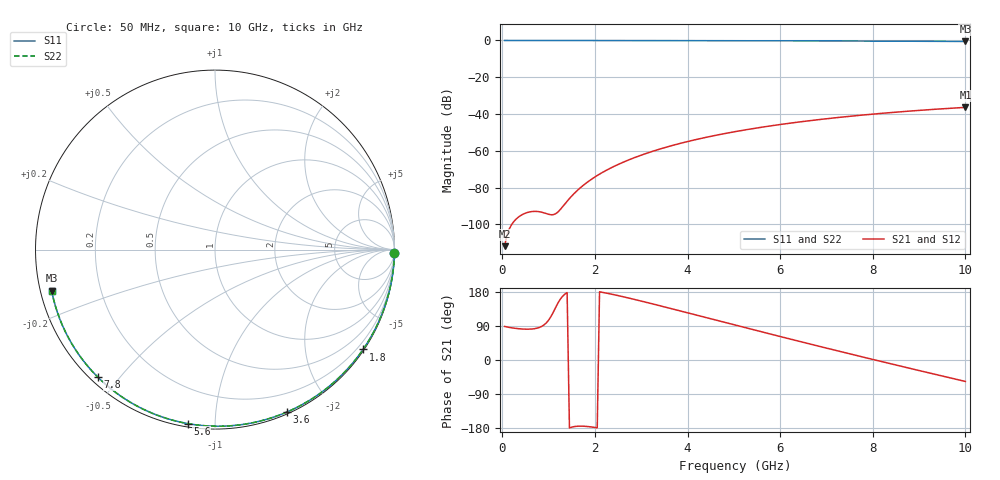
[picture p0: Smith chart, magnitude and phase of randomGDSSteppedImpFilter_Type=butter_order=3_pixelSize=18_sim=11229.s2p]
! freq	dB(S11)	phase(S11)	dB(S12)	phase(S12)
!  dB(S21)	phase(S21)	dB(S22)	phase(S22)
!S-par simulation data
#  GHz  S  DB  R 50
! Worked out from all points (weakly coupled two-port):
!   200 points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, 50 MHz to 10 GHz, reference 50 ohm
!   highest |S21| = -36.37 dB at 10 GHz (marker M1); lowest = -111.8 dB at 50 MHz (marker M2)
!   lowest |S11| = -0.6 dB at 10 GHz (marker M3), VSWR 31.45, Z = 1.61 - j6.17 ohm
!   |S11| at or under -10 dB: nowhere
!   |S22| runs from -0.6 to 0.0 dB; largest |S21 - S12| = 0
!   S11 on the Smith chart (normalised r, x): 50 MHz: open; 1.8 GHz: 0.03, -3.27; 3.6 GHz: 0.02, -1.54; 5.6 GHz: 0.02, -0.85; 7.8 GHz: 0.02, -0.44; 10 GHz: 0.03, -0.12
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0.05  -0.00 -1.0  -111.79 88.6  -111.79 88.6  -0.00 -1.0
0.45  -0.01 -8.6  -94.39 81.6  -94.39 81.6  -0.01 -8.6
0.85  -0.02 -16.3  -93.33 88.7  -93.33 88.7  -0.02 -16.3
1.65  -0.04 -31.2  -80.83 -174.6  -80.83 -174.6  -0.04 -31.2
1.7  -0.04 -32.2  -79.73 -174.5  -79.73 -174.5  -0.04 -32.2
1.75  -0.04 -33.1  -78.69 -174.7  -78.69 -174.7  -0.04 -33.1
1.8  -0.04 -34.0  -77.71 -175.1  -77.71 -175.1  -0.04 -34.0
2.1  -0.05 -39.5  -72.63 180.0  -72.63 180.0  -0.05 -39.5
2.3  -0.06 -43.2  -69.85 175.3  -69.85 175.3  -0.06 -43.2
2.5  -0.06 -46.8  -67.40 170.0  -67.40 170.0  -0.06 -46.8
2.9  -0.07 -53.9  -63.24 158.5  -63.24 158.5  -0.07 -53.9
3.4  -0.08 -62.7  -59.03 143.3  -59.03 143.3  -0.08 -62.7
3.6  -0.09 -66.1  -57.56 137.1  -57.56 137.1  -0.09 -66.1
4.3  -0.11 -77.9  -53.19 115.1  -53.19 115.1  -0.11 -77.9
5.05  -0.14 -90.2  -49.44 91.5  -49.44 91.5  -0.14 -90.2
5.6  -0.16 -99.0  -47.15 74.4  -47.15 74.4  -0.16 -99.0
6.15  -0.19 -107.5  -45.16 57.3  -45.16 57.3  -0.19 -107.5
6.7  -0.23 -116.0  -43.41 40.5  -43.41 40.5  -0.23 -116.0
7.8  -0.31 -132.5  -40.49 7.4  -40.49 7.4  -0.31 -132.5
8.35  -0.36 -140.8  -39.27 -8.9  -39.27 -8.9  -0.36 -140.8
9.2  -0.45 -153.6  -37.64 -33.6  -37.64 -33.6  -0.45 -153.6
10  -0.55 -165.9  -36.37 -56.6  -36.37 -56.6  -0.55 -165.9
